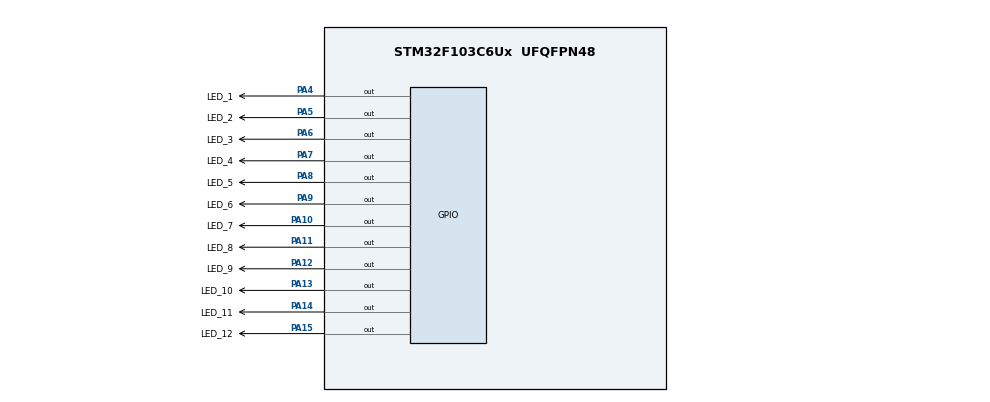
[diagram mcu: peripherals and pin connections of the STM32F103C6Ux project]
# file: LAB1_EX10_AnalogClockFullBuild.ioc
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Mcu.Family=STM32F1
Mcu.Name=STM32F103C6Ux
Mcu.Package=UFQFPN48
NVIC.PriorityGroup=NVIC_PRIORITYGROUP_4
PA10.GPIO_Label=LED_7
PA10.Signal=GPIO_Output
PA11.GPIO_Label=LED_8
PA11.Signal=GPIO_Output
PA12.GPIO_Label=LED_9
PA12.Signal=GPIO_Output
PA13.GPIO_Label=LED_10
PA13.Signal=GPIO_Output
PA14.GPIO_Label=LED_11
PA14.Signal=GPIO_Output
PA15.GPIO_Label=LED_12
PA15.Signal=GPIO_Output
PA4.GPIO_Label=LED_1
PA4.Signal=GPIO_Output
PA5.GPIO_Label=LED_2
PA5.Signal=GPIO_Output
PA6.GPIO_Label=LED_3
PA6.Signal=GPIO_Output
PA7.GPIO_Label=LED_4
PA7.Signal=GPIO_Output
PA8.GPIO_Label=LED_5
PA8.Signal=GPIO_Output
PA9.GPIO_Label=LED_6
PA9.Signal=GPIO_Output
ProjectManager.HeapSize=0x200
ProjectManager.StackSize=0x400
ProjectManager.TargetToolchain=STM32CubeIDE
RCC.APB1Freq_Value=8000000
RCC.APB2Freq_Value=8000000
VP_SYS_VS_ND.Mode=No_Debug
board=custom

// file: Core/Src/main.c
/* USER CODE BEGIN Header */
/**
  ******************************************************************************
  * @file           : main.c
  * @brief          : Main program body
  ******************************************************************************
  * @attention
  *
  * <h2><center>&copy; Copyright (c) 2022 STMicroelectronics.
  * All rights reserved.</center></h2>
  *
  * This software component is licensed by ST under BSD 3-Clause license,
  * the "License"; You may not use this file except in compliance with the
  * License. You may obtain a copy of the License at:
  *                        opensource.org/licenses/BSD-3-Clause
  *
  ******************************************************************************
  */
/* USER CODE END Header */
#include "main.h"

void SystemClock_Config(void);
static void MX_GPIO_Init(void);

/* USER CODE BEGIN 0 */
void clearAllClock(){
	  HAL_GPIO_WritePin(LED_1_GPIO_Port, LED_1_Pin, SET);
	  HAL_GPIO_WritePin(LED_2_GPIO_Port, LED_2_Pin, SET);
	  HAL_GPIO_WritePin(LED_3_GPIO_Port, LED_3_Pin, SET);
	  HAL_GPIO_WritePin(LED_4_GPIO_Port, LED_4_Pin, SET);
	  HAL_GPIO_WritePin(LED_5_GPIO_Port, LED_5_Pin, SET);
	  HAL_GPIO_WritePin(LED_6_GPIO_Port, LED_6_Pin, SET);
	  HAL_GPIO_WritePin(LED_7_GPIO_Port, LED_7_Pin, SET);
	  HAL_GPIO_WritePin(LED_8_GPIO_Port, LED_8_Pin, SET);
	  HAL_GPIO_WritePin(LED_9_GPIO_Port, LED_9_Pin, SET);
	  HAL_GPIO_WritePin(LED_10_GPIO_Port, LED_10_Pin, SET);
	  HAL_GPIO_WritePin(LED_11_GPIO_Port, LED_11_Pin, SET);
	  HAL_GPIO_WritePin(LED_12_GPIO_Port, LED_12_Pin, SET);
}
void clearNumberOnClock(int num){
	  switch(num){
		 case 1:{
			 HAL_GPIO_WritePin(LED_1_GPIO_Port, LED_1_Pin, SET);
			 break;
		 }
		 case 2:{
			 HAL_GPIO_WritePin(LED_2_GPIO_Port, LED_2_Pin, SET);
			 break;
		 }
		 case 3:{
			 HAL_GPIO_WritePin(LED_3_GPIO_Port, LED_3_Pin, SET);
			 break;
		 }
		 case 4:{
			 HAL_GPIO_WritePin(LED_4_GPIO_Port, LED_4_Pin, SET);
			 break;
		 }
		 case 5:{
			 HAL_GPIO_WritePin(LED_5_GPIO_Port, LED_5_Pin, SET);
			 break;
		 }
		 case 6:{
			 HAL_GPIO_WritePin(LED_6_GPIO_Port, LED_6_Pin, SET);
			 break;
		 }
		 case 7:{
			 HAL_GPIO_WritePin(LED_7_GPIO_Port, LED_7_Pin, SET);
			 break;
		 }
		 case 8:{
			 HAL_GPIO_WritePin(LED_8_GPIO_Port, LED_8_Pin, SET);
			 break;
		 }
		 case 9:{
			 HAL_GPIO_WritePin(LED_9_GPIO_Port, LED_9_Pin, SET);
			 break;
		 }
		 case 10:{
			 HAL_GPIO_WritePin(LED_10_GPIO_Port, LED_10_Pin, SET);
			 break;
		 }
		 case 11:{
			 HAL_GPIO_WritePin(LED_11_GPIO_Port, LED_11_Pin, SET);
			 break;
		 }
		 case 0:{
			 HAL_GPIO_WritePin(LED_12_GPIO_Port, LED_12_Pin, SET);
			 break;
		 }
		 default: HAL_GPIO_WritePin(LED_11_GPIO_Port, LED_11_Pin, SET);
	  }
}
void setNumberOnClock(int num){
	  switch(num){
		 case 1:{
			 HAL_GPIO_WritePin(LED_1_GPIO_Port, LED_1_Pin, RESET);
			 break;
		 }
		 case 2:{
			 HAL_GPIO_WritePin(LED_2_GPIO_Port, LED_2_Pin, RESET);
			 break;
		 }
		 case 3:{
			 HAL_GPIO_WritePin(LED_3_GPIO_Port, LED_3_Pin, RESET);
			 break;
		 }
		 case 4:{
			 HAL_GPIO_WritePin(LED_4_GPIO_Port, LED_4_Pin, RESET);
			 break;
		 }
		 case 5:{
			 HAL_GPIO_WritePin(LED_5_GPIO_Port, LED_5_Pin, RESET);
			 break;
		 }
		 case 6:{
			 HAL_GPIO_WritePin(LED_6_GPIO_Port, LED_6_Pin, RESET);
			 break;
		 }
		 case 7:{
			 HAL_GPIO_WritePin(LED_7_GPIO_Port, LED_7_Pin, RESET);
			 break;
		 }
		 case 8:{
			 HAL_GPIO_WritePin(LED_8_GPIO_Port, LED_8_Pin, RESET);
			 break;
		 }
		 case 9:{
			 HAL_GPIO_WritePin(LED_9_GPIO_Port, LED_9_Pin, RESET);
			 break;
		 }
		 case 10:{
			 HAL_GPIO_WritePin(LED_10_GPIO_Port, LED_10_Pin, RESET);
			 break;
		 }
		 case 11:{
			 HAL_GPIO_WritePin(LED_11_GPIO_Port, LED_11_Pin, RESET);
			 break;
		 }
		 case 0:{
			 HAL_GPIO_WritePin(LED_12_GPIO_Port, LED_12_Pin, RESET);
			 break;
		 }
		 default: num = 0;
	  }
}
/* USER CODE END 0 */

int main(void)
{

  /* MCU Configuration--------------------------------------------------------*/

  /* Reset of all peripherals, Initializes the Flash interface and the Systick. */
  HAL_Init();

  /* Configure the system clock */
  SystemClock_Config();

  /* Initialize all configured peripherals */
  MX_GPIO_Init();

  /* Infinite loop */
  /* USER CODE BEGIN WHILE */
  clearAllClock();
  HAL_GPIO_WritePin(LED_12_GPIO_Port, LED_12_Pin, RESET);
  int countSec = 0;
  int countHour = 0;
  int countMin = 0;
  int preSec = 0;
  int preMin = 0;
  int preHour = 0;
  int maxRange = 12;
  while (1)
  {
	  if(countSec >= maxRange){
		  countSec = 0;
		  countMin++;
		  if(countMin >= maxRange){
			  countMin = 0;
			  countHour++;
			  if(countHour >= 12){
				  countHour = 0;
			  }
		  }
	  }

	  /* Calculate previous state of min, hour, sec to turn off Led */
	  preSec = countSec - 1;
	  preMin = countMin - 1;
	  preHour = countHour-1;
	  if(preSec == -1) preSec = maxRange-1;
	  if(preMin == -1) preMin = maxRange-1;
	  if(preHour == -1) preHour = maxRange-1;

	  /* if previous_state != all current_state(sec, min, hour) --> turn off*/
	  if(preSec != countMin && preSec != countHour){
		  clearNumberOnClock(preSec);
	  }
	  if(preMin != countSec && preMin != countHour){
		  clearNumberOnClock(preMin);
	  }
	  if(preHour != countSec && preHour != countMin){
		  clearNumberOnClock(preHour);
	  }
	  /* Turn on all the Led present current state of min, sec, hour */
	  setNumberOnClock(countSec);
	  setNumberOnClock(countMin);
	  setNumberOnClock(countHour);
	  countSec++;
	  HAL_Delay(1000);

    /* USER CODE END WHILE */

  }
}

void SystemClock_Config(void)
{
  RCC_OscInitTypeDef RCC_OscInitStruct = {0};
  RCC_ClkInitTypeDef RCC_ClkInitStruct = {0};

  /** Initializes the RCC Oscillators according to the specified parameters
  * in the RCC_OscInitTypeDef structure.
  */
  RCC_OscInitStruct.OscillatorType = RCC_OSCILLATORTYPE_HSI;
  RCC_OscInitStruct.HSIState = RCC_HSI_ON;
  RCC_OscInitStruct.HSICalibrationValue = RCC_HSICALIBRATION_DEFAULT;
  RCC_OscInitStruct.PLL.PLLState = RCC_PLL_NONE;
  if (HAL_RCC_OscConfig(&RCC_OscInitStruct) != HAL_OK)
  {
    Error_Handler();
  }
  /** Initializes the CPU, AHB and APB buses clocks
  */
  RCC_ClkInitStruct.ClockType = RCC_CLOCKTYPE_HCLK|RCC_CLOCKTYPE_SYSCLK
                              |RCC_CLOCKTYPE_PCLK1|RCC_CLOCKTYPE_PCLK2;
  RCC_ClkInitStruct.SYSCLKSource = RCC_SYSCLKSOURCE_HSI;
  RCC_ClkInitStruct.AHBCLKDivider = RCC_SYSCLK_DIV1;
  RCC_ClkInitStruct.APB1CLKDivider = RCC_HCLK_DIV1;
  RCC_ClkInitStruct.APB2CLKDivider = RCC_HCLK_DIV1;

  if (HAL_RCC_ClockConfig(&RCC_ClkInitStruct, FLASH_LATENCY_0) != HAL_OK)
  {
    Error_Handler();
  }
}

static void MX_GPIO_Init(void)
{
  GPIO_InitTypeDef GPIO_InitStruct = {0};

  /* GPIO Ports Clock Enable */
  __HAL_RCC_GPIOA_CLK_ENABLE();

  /*Configure GPIO pin Output Level */
  HAL_GPIO_WritePin(GPIOA, LED_1_Pin|LED_2_Pin|LED_3_Pin|LED_4_Pin
                          |LED_5_Pin|LED_6_Pin|LED_7_Pin|LED_8_Pin
                          |LED_9_Pin|LED_10_Pin|LED_11_Pin|LED_12_Pin, GPIO_PIN_RESET);

  /*Configure GPIO pins : LED_1_Pin LED_2_Pin LED_3_Pin LED_4_Pin
                           LED_5_Pin LED_6_Pin LED_7_Pin LED_8_Pin
                           LED_9_Pin LED_10_Pin LED_11_Pin LED_12_Pin */
  GPIO_InitStruct.Pin = LED_1_Pin|LED_2_Pin|LED_3_Pin|LED_4_Pin
                          |LED_5_Pin|LED_6_Pin|LED_7_Pin|LED_8_Pin
                          |LED_9_Pin|LED_10_Pin|LED_11_Pin|LED_12_Pin;
  GPIO_InitStruct.Mode = GPIO_MODE_OUTPUT_PP;
  GPIO_InitStruct.Pull = GPIO_NOPULL;
  GPIO_InitStruct.Speed = GPIO_SPEED_FREQ_LOW;
  HAL_GPIO_Init(GPIOA, &GPIO_InitStruct);

}

void Error_Handler(void)
{
  __disable_irq();
  while (1)
  {
  }
}

/************************ (C) COPYRIGHT STMicroelectronics *****END OF FILE****/
